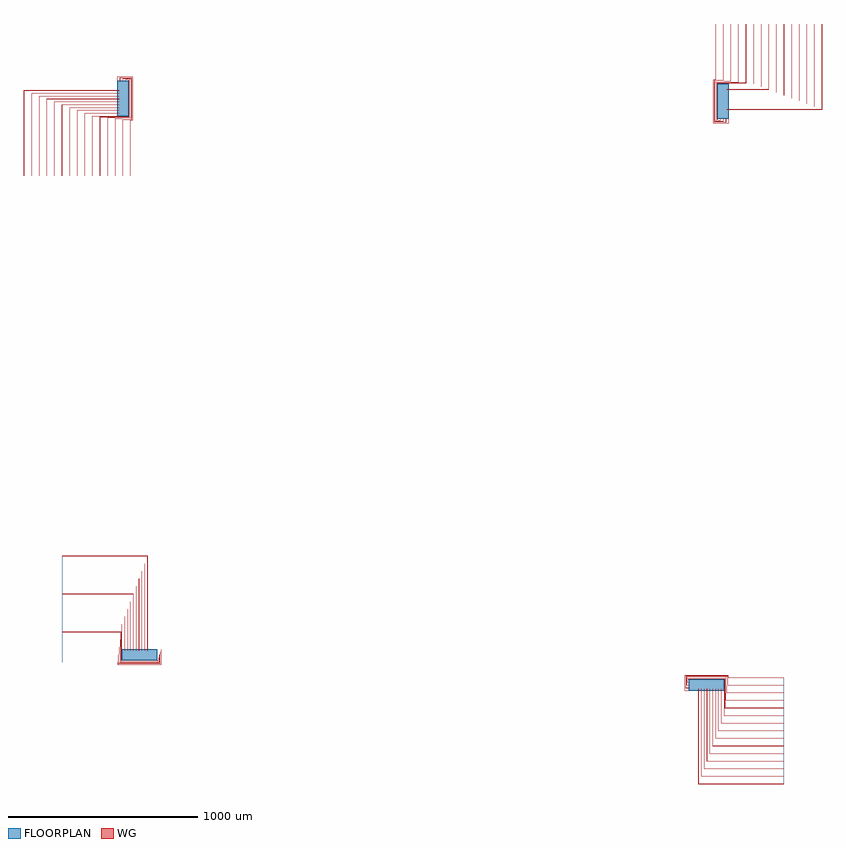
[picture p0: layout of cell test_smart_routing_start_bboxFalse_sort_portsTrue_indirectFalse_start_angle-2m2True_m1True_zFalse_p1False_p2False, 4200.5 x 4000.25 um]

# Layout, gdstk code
import gdstk
lib = gdstk.Library(unit=1e-6, precision=1e-09)
def R(c, l, rs):  # rectangles x0, y0, x1, y1
    for r in rs: c.add(gdstk.rectangle(r[:2], r[2:], *l))
def P(c, l, *ps):  # polygons
    for p in ps: c.add(gdstk.Polygon(p, *l))
WG = (1, 0)
FLOORPLAN = (10, 0)

test_smart_routing_start = lib.new_cell('test_smart_routing_start_bboxFalse_sort_portsTrue_indirectFalse_start_angle-2m2True_m1True_zFalse_p1False_p2False')
P(test_smart_routing_start, WG, [(-600.25,2600),(-600.25,3050.25),(-100,3050.25),(-100,3049.75),(-599.75,3049.75),(-599.75,2600)],
  [(-560.25,2600),(-560.25,3035.25),(-100,3035.25),(-100,3034.75),(-559.75,3034.75),(-559.75,2600)],
  [(-520.25,2600),(-520.25,3020.25),(-100,3020.25),(-100,3019.75),(-519.75,3019.75),(-519.75,2600)],
  [(-480.25,2600),(-480.25,3005.25),(-100,3005.25),(-100,3004.75),(-479.75,3004.75),(-479.75,2600)],
  [(-440.25,2600),(-440.25,2990.25),(-100,2990.25),(-100,2989.75),(-439.75,2989.75),(-439.75,2600)],
  [(-400.25,2600),(-400.25,2975.25),(-100,2975.25),(-100,2974.75),(-399.75,2974.75),(-399.75,2600)],
  [(-360.25,2600),(-360.25,2960.25),(-100,2960.25),(-100,2959.75),(-359.75,2959.75),(-359.75,2600)],
  [(-320.25,2600),(-320.25,2945.25),(-100,2945.25),(-100,2944.75),(-319.75,2944.75),(-319.75,2600)],
  [(-280.25,2600),(-280.25,2930.25),(-100,2930.25),(-100,2929.75),(-279.75,2929.75),(-279.75,2600)],
  [(-240.25,2600),(-240.25,2915.25),(-100,2915.25),(-100,2914.75),(-239.75,2914.75),(-239.75,2600)],
  [(-200.25,2600),(-200.25,2910.75),(-45.75,2910.75),(-45.75,3104),(-49.75,3104),(-49.75,3100),(-50.25,3100),(-50.25,3104.5),(-45.25,3104.5),(-45.25,2910.25),(-199.75,2910.25),(-199.75,2600)],
  [(-160.25,2600),(-160.25,2906.25),(-41.25,2906.25),(-41.25,3108.5),(-64.75,3108.5),(-64.75,3100),(-65.25,3100),(-65.25,3109),(-40.75,3109),(-40.75,2905.75),(-159.75,2905.75),(-159.75,2600)],
  [(-120.25,2600),(-120.25,2901.75),(-36.75,2901.75),(-36.75,3113),(-79.75,3113),(-79.75,3100),(-80.25,3100),(-80.25,3113.5),(-36.25,3113.5),(-36.25,2901.25),(-119.75,2901.25),(-119.75,2600)],
  [(-80.25,2600),(-80.25,2897.25),(-32.25,2897.25),(-32.25,3117.5),(-94.75,3117.5),(-94.75,3100),(-95.25,3100),(-95.25,3118),(-31.75,3118),(-31.75,2896.75),(-79.75,2896.75),(-79.75,2600)],
  [(-40.25,2600),(-40.25,2892.75),(-27.75,2892.75),(-27.75,3122),(-109.75,3122),(-109.75,3100),(-110.25,3100),(-110.25,3122.5),(-27.25,3122.5),(-27.25,2892.25),(-39.75,2892.25),(-39.75,2600)],
  [(49.75,100),(49.75,599.75),(-400,599.75),(-400,600.25),(50.25,600.25),(50.25,100)],
  [(34.75,100),(34.75,559.75),(-400,559.75),(-400,560.25),(35.25,560.25),(35.25,100)],
  [(19.75,100),(19.75,519.75),(-400,519.75),(-400,520.25),(20.25,520.25),(20.25,100)],
  [(4.75,100),(4.75,479.75),(-400,479.75),(-400,480.25),(5.25,480.25),(5.25,100)],
  [(-10.25,100),(-10.25,439.75),(-400,439.75),(-400,440.25),(-9.75,440.25),(-9.75,100)],
  [(-25.25,100),(-25.25,399.75),(-400,399.75),(-400,400.25),(-24.75,400.25),(-24.75,100)],
  [(-40.25,100),(-40.25,359.75),(-400,359.75),(-400,360.25),(-39.75,360.25),(-39.75,100)],
  [(-55.25,100),(-55.25,319.75),(-400,319.75),(-400,320.25),(-54.75,320.25),(-54.75,100)],
  [(-70.25,100),(-70.25,279.75),(-400,279.75),(-400,280.25),(-69.75,280.25),(-69.75,100)],
  [(-85.25,100),(-85.25,239.75),(-400,239.75),(-400,240.25),(-84.75,240.25),(-84.75,100)],
  [(-89.75,45.25),(-89.75,199.75),(-400,199.75),(-400,200.25),(-89.25,200.25),(-89.25,45.75),(104,45.75),(104,49.75),(100,49.75),(100,50.25),(104.5,50.25),(104.5,45.25)],
  [(-94.25,40.75),(-94.25,159.75),(-400,159.75),(-400,160.25),(-93.75,160.25),(-93.75,41.25),(108.5,41.25),(108.5,64.75),(100,64.75),(100,65.25),(109,65.25),(109,40.75)],
  [(-98.75,36.25),(-98.75,119.75),(-400,119.75),(-400,120.25),(-98.25,120.25),(-98.25,36.75),(113,36.75),(113,79.75),(100,79.75),(100,80.25),(113.5,80.25),(113.5,36.25)],
  [(-103.25,31.75),(-103.25,79.75),(-400,79.75),(-400,80.25),(-102.75,80.25),(-102.75,32.25),(117.5,32.25),(117.5,94.75),(100,94.75),(100,95.25),(118,95.25),(118,31.75)],
  [(-107.75,27.25),(-107.75,39.75),(-400,39.75),(-400,40.25),(-107.25,40.25),(-107.25,27.75),(122,27.75),(122,109.75),(100,109.75),(100,110.25),(122.5,110.25),(122.5,27.25)],
  [(2949.75,-600.25),(2949.75,-100),(2950.25,-100),(2950.25,-599.75),(3400,-599.75),(3400,-600.25)],
  [(2964.75,-560.25),(2964.75,-100),(2965.25,-100),(2965.25,-559.75),(3400,-559.75),(3400,-560.25)],
  [(2979.75,-520.25),(2979.75,-100),(2980.25,-100),(2980.25,-519.75),(3400,-519.75),(3400,-520.25)],
  [(2994.75,-480.25),(2994.75,-100),(2995.25,-100),(2995.25,-479.75),(3400,-479.75),(3400,-480.25)],
  [(3009.75,-440.25),(3009.75,-100),(3010.25,-100),(3010.25,-439.75),(3400,-439.75),(3400,-440.25)],
  [(3024.75,-400.25),(3024.75,-100),(3025.25,-100),(3025.25,-399.75),(3400,-399.75),(3400,-400.25)],
  [(3039.75,-360.25),(3039.75,-100),(3040.25,-100),(3040.25,-359.75),(3400,-359.75),(3400,-360.25)],
  [(3054.75,-320.25),(3054.75,-100),(3055.25,-100),(3055.25,-319.75),(3400,-319.75),(3400,-320.25)],
  [(3069.75,-280.25),(3069.75,-100),(3070.25,-100),(3070.25,-279.75),(3400,-279.75),(3400,-280.25)],
  [(3084.75,-240.25),(3084.75,-100),(3085.25,-100),(3085.25,-239.75),(3400,-239.75),(3400,-240.25)],
  [(3089.25,-200.25),(3089.25,-45.75),(2896,-45.75),(2896,-49.75),(2900,-49.75),(2900,-50.25),(2895.5,-50.25),(2895.5,-45.25),(3089.75,-45.25),(3089.75,-199.75),(3400,-199.75),(3400,-200.25)],
  [(3093.75,-160.25),(3093.75,-41.25),(2891.5,-41.25),(2891.5,-64.75),(2900,-64.75),(2900,-65.25),(2891,-65.25),(2891,-40.75),(3094.25,-40.75),(3094.25,-159.75),(3400,-159.75),(3400,-160.25)],
  [(3098.25,-120.25),(3098.25,-36.75),(2887,-36.75),(2887,-79.75),(2900,-79.75),(2900,-80.25),(2886.5,-80.25),(2886.5,-36.25),(3098.75,-36.25),(3098.75,-119.75),(3400,-119.75),(3400,-120.25)],
  [(2882,-95.25),(2882,-31.75),(3103.25,-31.75),(3103.25,-79.75),(3400,-79.75),(3400,-80.25),(3102.75,-80.25),(3102.75,-32.25),(2882.5,-32.25),(2882.5,-94.75),(2900,-94.75),(2900,-95.25)],
  [(2877.5,-110.25),(2877.5,-27.25),(3107.75,-27.25),(3107.75,-39.75),(3400,-39.75),(3400,-40.25),(3107.25,-40.25),(3107.25,-27.75),(2878,-27.75),(2878,-109.75),(2900,-109.75),(2900,-110.25)],
  [(3100,2949.75),(3100,2950.25),(3599.75,2950.25),(3599.75,3400),(3600.25,3400),(3600.25,2949.75)],
  [(3100,2964.75),(3100,2965.25),(3559.75,2965.25),(3559.75,3400),(3560.25,3400),(3560.25,2964.75)],
  [(3100,2979.75),(3100,2980.25),(3519.75,2980.25),(3519.75,3400),(3520.25,3400),(3520.25,2979.75)],
  [(3100,2994.75),(3100,2995.25),(3479.75,2995.25),(3479.75,3400),(3480.25,3400),(3480.25,2994.75)],
  [(3100,3009.75),(3100,3010.25),(3439.75,3010.25),(3439.75,3400),(3440.25,3400),(3440.25,3009.75)],
  [(3100,3024.75),(3100,3025.25),(3399.75,3025.25),(3399.75,3400),(3400.25,3400),(3400.25,3024.75)],
  [(3100,3039.75),(3100,3040.25),(3359.75,3040.25),(3359.75,3400),(3360.25,3400),(3360.25,3039.75)],
  [(3100,3054.75),(3100,3055.25),(3319.75,3055.25),(3319.75,3400),(3320.25,3400),(3320.25,3054.75)],
  [(3100,3069.75),(3100,3070.25),(3279.75,3070.25),(3279.75,3400),(3280.25,3400),(3280.25,3069.75)],
  [(3100,3084.75),(3100,3085.25),(3239.75,3085.25),(3239.75,3400),(3240.25,3400),(3240.25,3084.75)],
  [(3045.25,2895.5),(3045.25,3089.75),(3199.75,3089.75),(3199.75,3400),(3200.25,3400),(3200.25,3089.25),(3045.75,3089.25),(3045.75,2896),(3049.75,2896),(3049.75,2900),(3050.25,2900),(3050.25,2895.5)],
  [(3040.75,2891),(3040.75,3094.25),(3159.75,3094.25),(3159.75,3400),(3160.25,3400),(3160.25,3093.75),(3041.25,3093.75),(3041.25,2891.5),(3064.75,2891.5),(3064.75,2900),(3065.25,2900),(3065.25,2891)],
  [(3036.25,2886.5),(3036.25,3098.75),(3119.75,3098.75),(3119.75,3400),(3120.25,3400),(3120.25,3098.25),(3036.75,3098.25),(3036.75,2887),(3079.75,2887),(3079.75,2900),(3080.25,2900),(3080.25,2886.5)],
  [(3031.75,2882),(3031.75,3103.25),(3079.75,3103.25),(3079.75,3400),(3080.25,3400),(3080.25,3102.75),(3032.25,3102.75),(3032.25,2882.5),(3094.75,2882.5),(3094.75,2900),(3095.25,2900),(3095.25,2882)],
  [(3027.25,2877.5),(3027.25,3107.75),(3039.75,3107.75),(3039.75,3400),(3040.25,3400),(3040.25,3107.25),(3027.75,3107.25),(3027.75,2878),(3109.75,2878),(3109.75,2900),(3110.25,2900),(3110.25,2877.5)])
R(test_smart_routing_start, FLOORPLAN, [(2900,-110,3085,-50), (-85,50,100,110), (3050,2900,3110,3085), (-110,2915,-50,3100)])
P(test_smart_routing_start, FLOORPLAN, [(-400,40),(-400,600),(-400,600),(-400,40)],
  [(-600,2600),(-600,2600),(-40,2600),(-40,2600)],
  [(3400,-600),(3400,-40),(3400,-40),(3400,-600)],
  [(3040,3400),(3040,3400),(3600,3400),(3600,3400)])

lib.write_gds('test_smart_routing_start_bboxFalse_sort_portsTrue_indirectFalse_start_angle-2m2True_m1True_zFalse_p1False_p2False.gds')
